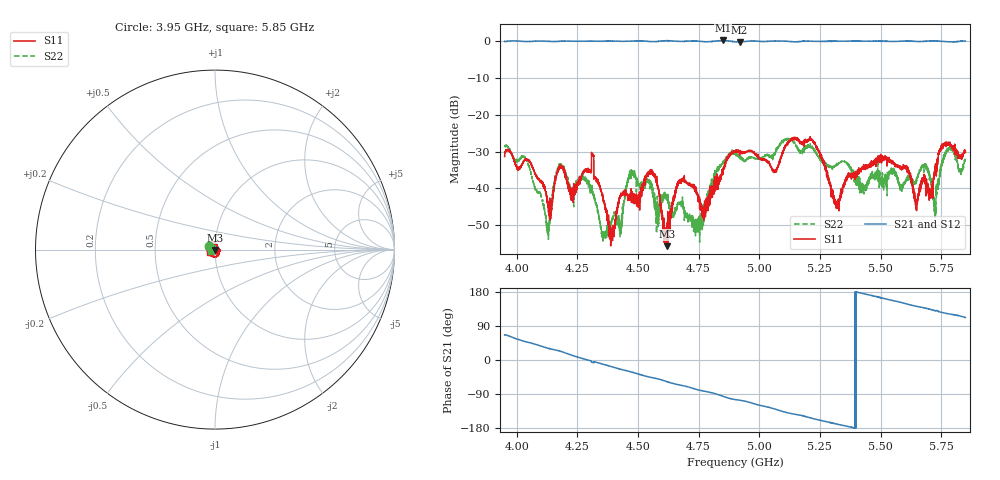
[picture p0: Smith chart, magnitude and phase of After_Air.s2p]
# GHZ S RI R 50.000000000000
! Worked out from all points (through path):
!   4501 points, 3.95 GHz to 5.85 GHz, reference 50 ohm
!   highest |S21| = 0.13 dB at 4.851 GHz (marker M1); lowest = -0.3 dB at 4.919 GHz (marker M2)
!   group delay of S21, straight-line fit = 454 ps
!   lowest |S11| = -55.7 dB at 4.62 GHz (marker M3), VSWR 1.00, Z = 50 - j0.162 ohm
!   |S11| at or under -10 dB: start of sweep to end of sweep
!   |S22| runs from -54.7 to -26.5 dB; largest |S21 - S12| = 0.073
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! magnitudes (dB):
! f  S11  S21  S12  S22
! 3.95 GHz  -31.4  -0.1  -0.2  -28.4
! 4.04 GHz  -32.0  -0.2  -0.1  -32.3
! 4.126 GHz  -43.4  -0.1  -0.1  -49.9
! 4.175 GHz  -34.3  -0.1  -0.1  -33.5
! 4.267 GHz  -36.4  -0.1  -0.1  -37.7
! 4.318 GHz  -31.2  -0.1  -0.1  -41.7
! 4.392 GHz  -52.6  0.0  -0.1  -48.6
! 4.475 GHz  -41.8  0.0  0.0  -36.3
! 4.584 GHz  -40.3  -0.1  -0.2  -47.9
! 4.62 GHz  -55.7  0.1  0.0  -41.7
! 4.669 GHz  -38.1  -0.1  -0.1  -44.4
! 4.741 GHz  -40.5  0.0  0.0  -50.7
! 4.851 GHz  -35.0  0.1  0.1  -33.3
! 4.9 GHz  -29.9  -0.2  -0.2  -30.5
! 4.919 GHz  -31.0  -0.3  -0.2  -30.7
! 5.217 GHz  -27.0  -0.1  -0.1  -28.9
! 5.32 GHz  -45.5  -0.1  -0.1  -33.5
! 5.534 GHz  -31.7  -0.1  -0.1  -35.6
! 5.649 GHz  -43.6  -0.1  -0.1  -38.0
! 5.724 GHz  -36.1  0.0  0.0  -45.3
! 5.76 GHz  -28.5  -0.1  -0.2  -31.5
! 5.85 GHz  -30.2  0.0  0.0  -32.1
